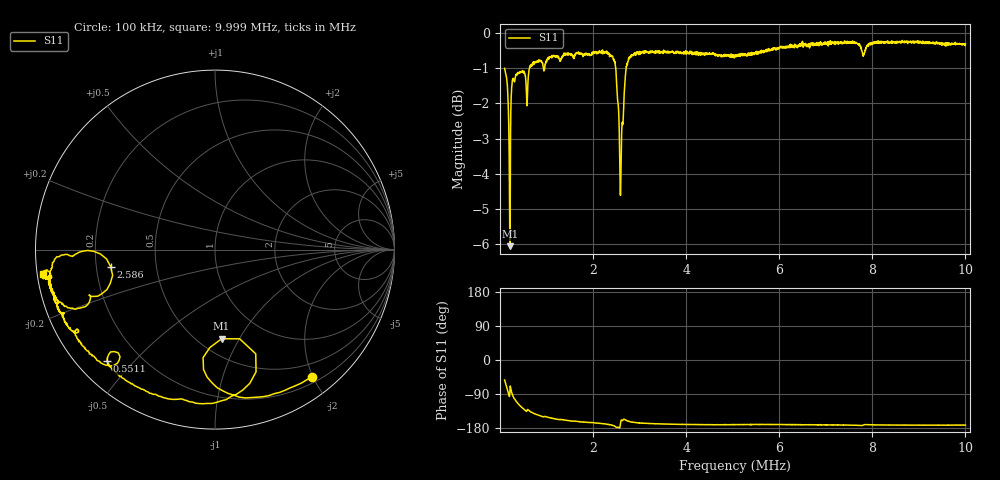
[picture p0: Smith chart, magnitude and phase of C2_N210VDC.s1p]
# HZ S RI R 50
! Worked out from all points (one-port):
!   2020 points, 100 kHz to 9.999 MHz, reference 50 ohm
!   lowest |S11| = -6.1 dB at 212.8 kHz (marker M1), VSWR 2.99, Z = 32 - j42.3 ohm
!   |S11| at or under -10 dB: nowhere
!   S11 on the Smith chart (normalised r, x): 100 kHz: 0.29, -1.98; 551.1 kHz: 0.09, -0.42; 2.586 MHz: 0.26, -0.08; 9.999 MHz: 0.02, -0.07
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100000  0.5379 -0.7104
163739  0.1344 -0.8218
212769  0.0367 -0.4968
266702  -0.0175 -0.8573
310829  -0.1804 -0.8331
428501  -0.4483 -0.7582
551076  -0.6005 -0.6218
649136  -0.6404 -0.6248
850159  -0.7638 -0.5032
1340459  -0.8559 -0.3561
2139648  -0.9185 -0.2078
2419119  -0.9195 -0.1198
2477955  -0.8974 -0.0663
2531888  -0.797 -0.0363
2576015  -0.6388 -0.0241
2585821  -0.5814 -0.0954
2615239  -0.6768 -0.2609
2644657  -0.6945 -0.2758
2698590  -0.8134 -0.324
2777038  -0.8804 -0.2823
2924128  -0.9048 -0.2383
3816474  -0.9248 -0.1685
5052030  -0.9187 -0.1511
6287586  -0.9453 -0.1527
7528045  -0.9613 -0.1381
7817322  -0.9239 -0.143
8763601  -0.9622 -0.1371
9999157  -0.9557 -0.137
